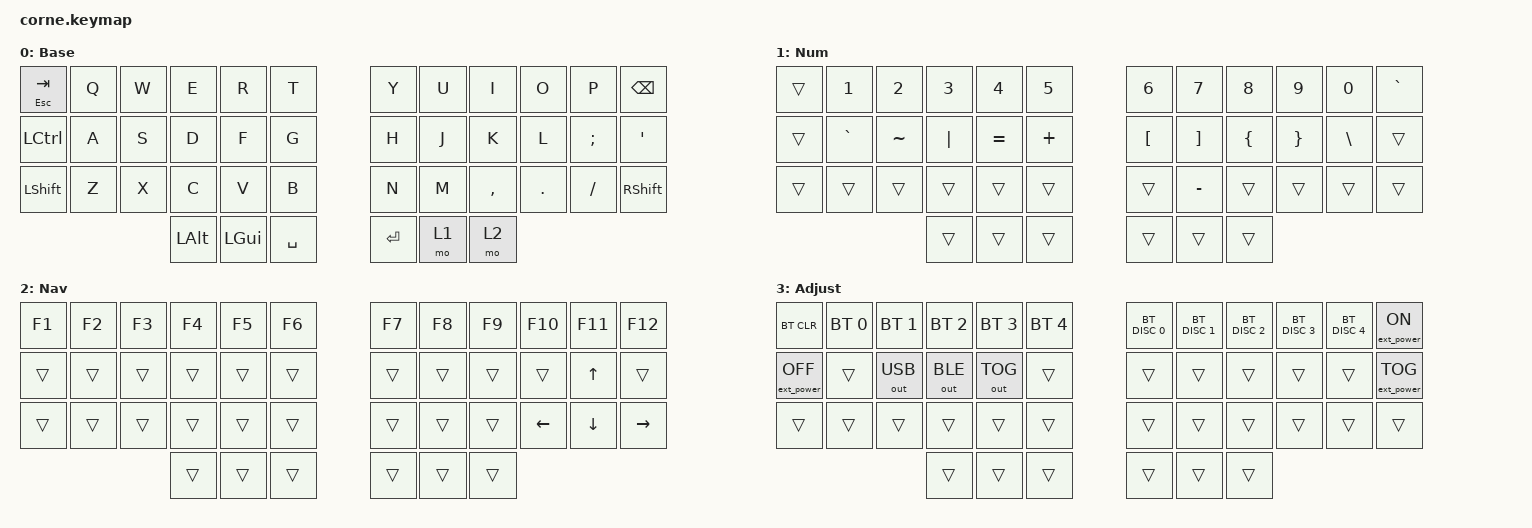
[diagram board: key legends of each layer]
/*
 * Copyright (c) 2020 The ZMK Contributors
 *
 * SPDX-License-Identifier: MIT
 */

#include <behaviors.dtsi>
#include <dt-bindings/zmk/bt.h>
#include <dt-bindings/zmk/ext_power.h>
#include <dt-bindings/zmk/keys.h>
#include <dt-bindings/zmk/outputs.h>

&led_strip {
    chain-length = <0>;
};

// pinky outer mod-tap: tap-preferred + prior-idle so quick taps fire ESC reliably
&mt {
    tapping-term-ms = <200>;
    flavor = "tap-preferred";
    require-prior-idle-ms = <125>;
};

/ {
    behaviors {
        esc_tab: esc_tab {
            compatible = "zmk,behavior-hold-tap";
            display-name = "Esc/Tab";
            #binding-cells = <2>;
            flavor = "tap-preferred";
            tapping-term-ms = <200>;
            bindings = <&kp>, <&kp>;
        };
    };

    keymap {
        compatible = "zmk,keymap";

        base_layer {
            display-name = "Base";
            // ---------------------------------------------------------------------------------------------
            // | TAB/ESC |  Q  |  W  |  E  |  R  |  T  |       |  Y  |  U  |  I  |  O  |  P  |  BSPC  |
            // |  LCTRL  |  A  |  S  |  D  |  F  |  G  |       |  H  |  J  |  K  |  L  |  ;  |   '    |
            // |  LSHFT  |  Z  |  X  |  C  |  V  |  B  |       |  N  |  M  |  ,  |  .  |  /  |  RSHFT |
            //                       | LALT | LGUI | SPACE |       | ENTER | mo 1 | mo 2 |
            bindings = <
&esc_tab ESC TAB  &kp Q  &kp W  &kp E     &kp R     &kp T            &kp Y    &kp U  &kp I      &kp O    &kp P     &kp BSPC
&kp LCTRL         &kp A  &kp S  &kp D     &kp F     &kp G            &kp H    &kp J  &kp K      &kp L    &kp SEMI  &kp SQT
&kp LSHFT         &kp Z  &kp X  &kp C     &kp V     &kp B            &kp N    &kp M  &kp COMMA  &kp DOT  &kp FSLH  &kp RSHFT
                                &kp LALT  &kp LGUI  &kp SPACE        &kp RET  &mo 1  &mo 2
            >;
        };

        lower_layer {
            display-name = "Num";
            // ---------------------------------------------------------------------------------------------
            // | trans |  1  |  2  |  3  |  4  |  5  |       |  6  |  7  |  8  |  9  |  0  |  `    |
            // | trans |  `  |  ~  |  |  |  =  |  +  |       |  [  |  ]  |  {  |  }  |  \  | trans |
            // | trans | ___ | ___ | ___ | ___ | ___ |       | ___ |  -  | ___ | ___ | ___ | trans |
            //                     | trans | trans | trans |       | trans | trans | trans |
            bindings = <
&trans  &kp N1     &kp N2     &kp N3    &kp N4     &kp N5         &kp N6     &kp N7    &kp N8     &kp N9    &kp N0    &kp GRAVE
&trans  &kp GRAVE  &kp TILDE  &kp PIPE  &kp EQUAL  &kp PLUS       &kp LBKT   &kp RBKT  &kp LBRC   &kp RBRC  &kp BSLH  &trans
&trans  &trans     &trans     &trans    &trans     &trans         &trans     &kp MINUS &trans     &trans    &trans    &trans
                              &trans    &trans     &trans         &trans     &trans    &trans
            >;
        };

        raise_layer {
            display-name = "Nav";
            // ---------------------------------------------------------------------------------------------
            // |  F1   |  F2   |  F3   |  F4   |  F5   |  F6   |       |  F7   |  F8   |  F9   | F10   | F11    | F12    |
            // | trans | trans | trans | trans | trans | trans |       | trans | trans | trans | trans |   UP   | trans  |
            // | trans | trans | trans | trans | trans | trans |       | trans | trans | trans | LEFT  |  DOWN  | RIGHT  |
            //                         | trans | trans | trans |       | trans | trans | trans |
            bindings = <
&kp F1  &kp F2  &kp F3  &kp F4  &kp F5  &kp F6         &kp F7  &kp F8  &kp F9  &kp F10   &kp F11       &kp F12
&trans  &trans  &trans  &trans  &trans  &trans         &trans  &trans  &trans  &trans    &kp UP_ARROW  &trans
&trans  &trans  &trans  &trans  &trans  &trans         &trans  &trans  &trans  &kp LEFT  &kp DOWN      &kp RIGHT
                        &trans  &trans  &trans         &trans  &trans  &trans
            >;
        };

        adjust_layer {
            display-name = "Adjust";
            // ---------------------------------------------------------------------------------------------
            // | BTCLR | BT0 | BT1 | BT2 | BT3 | BT4 |       | BTD0 | BTD1 | BTD2 | BTD3 | BTD4 | EP_ON |
            // | EP_OFF | -- | USB | BLE | OUT | --- |       | ---  | ---  | ---  | ---  | ---  | EPTOG |
            // | trans | --- | --- | --- | --- | --- |       | ---  | ---  | ---  | ---  | ---  | trans |
            //                     | trans | trans | trans |       | trans | trans | trans |
            bindings = <
&bt BT_CLR         &bt BT_SEL 0  &bt BT_SEL 1  &bt BT_SEL 2  &bt BT_SEL 3  &bt BT_SEL 4    &bt BT_DISC 0  &bt BT_DISC 1  &bt BT_DISC 2  &bt BT_DISC 3  &bt BT_DISC 4  &ext_power EP_ON
&ext_power EP_OFF  &trans        &out OUT_USB  &out OUT_BLE  &out OUT_TOG  &trans          &trans         &trans         &trans         &trans         &trans         &ext_power EP_TOG
&trans             &trans        &trans        &trans        &trans        &trans          &trans         &trans         &trans         &trans         &trans         &trans
                                               &trans        &trans        &trans          &trans         &trans         &trans
            >;
        };
    };

    conditional_layers {
        compatible = "zmk,conditional-layers";

        adjust {
            if-layers = <1 2>;
            then-layer = <3>;
        };
    };
};
